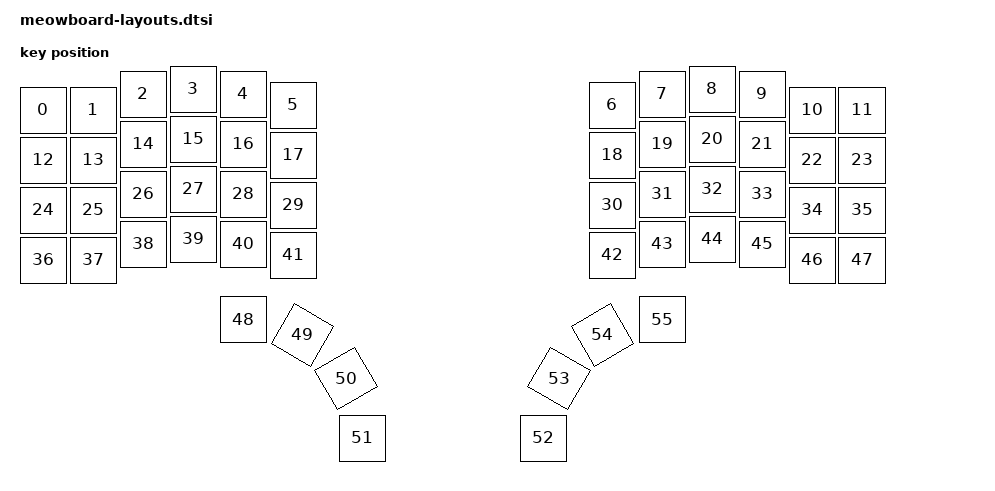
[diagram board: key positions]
// See https://zmk.dev/docs/development/hardware-integration/physical-layouts
// for how to configure this.

#include <physical_layouts.dtsi>

/ {
    default_layout: default_layout {
        compatible = "zmk,physical-layout";
        display-name = "Default Layout";
        transform = <&default_transform>;
        kscan = <&kscan>;

        // Edit this to define the positions and sizes of the keys, or remove it
        // if your keyboard will not support ZMK Studio.
        // https://zmk.dev/docs/development/hardware-integration/physical-layouts#optional-keys-property
        keys  //                     w   h    x    y     rot    rx    ry
            = <&key_physical_attrs 100 100    0   42       0     0     0>
            , <&key_physical_attrs 100 100  100   42       0     0     0>
            , <&key_physical_attrs 100 100  200   10       0     0     0>
            , <&key_physical_attrs 100 100  300    0       0     0     0>
            , <&key_physical_attrs 100 100  400   10       0     0     0>
            , <&key_physical_attrs 100 100  500   32       0     0     0>
            , <&key_physical_attrs 100 100 1138   32       0     0     0>
            , <&key_physical_attrs 100 100 1238   10       0     0     0>
            , <&key_physical_attrs 100 100 1338    0       0     0     0>
            , <&key_physical_attrs 100 100 1438   10       0     0     0>
            , <&key_physical_attrs 100 100 1538   42       0     0     0>
            , <&key_physical_attrs 100 100 1638   42       0     0     0>
            , <&key_physical_attrs 100 100    0  142       0     0     0>
            , <&key_physical_attrs 100 100  100  142       0     0     0>
            , <&key_physical_attrs 100 100  200  110       0     0     0>
            , <&key_physical_attrs 100 100  300  100       0     0     0>
            , <&key_physical_attrs 100 100  400  110       0     0     0>
            , <&key_physical_attrs 100 100  500  132       0     0     0>
            , <&key_physical_attrs 100 100 1138  132       0     0     0>
            , <&key_physical_attrs 100 100 1238  110       0     0     0>
            , <&key_physical_attrs 100 100 1338  100       0     0     0>
            , <&key_physical_attrs 100 100 1438  110       0     0     0>
            , <&key_physical_attrs 100 100 1538  142       0     0     0>
            , <&key_physical_attrs 100 100 1638  142       0     0     0>
            , <&key_physical_attrs 100 100    0  242       0     0     0>
            , <&key_physical_attrs 100 100  100  242       0     0     0>
            , <&key_physical_attrs 100 100  200  210       0     0     0>
            , <&key_physical_attrs 100 100  300  200       0     0     0>
            , <&key_physical_attrs 100 100  400  210       0     0     0>
            , <&key_physical_attrs 100 100  500  232       0     0     0>
            , <&key_physical_attrs 100 100 1138  232       0     0     0>
            , <&key_physical_attrs 100 100 1238  210       0     0     0>
            , <&key_physical_attrs 100 100 1338  200       0     0     0>
            , <&key_physical_attrs 100 100 1438  210       0     0     0>
            , <&key_physical_attrs 100 100 1538  242       0     0     0>
            , <&key_physical_attrs 100 100 1638  242       0     0     0>
            , <&key_physical_attrs 100 100    0  342       0     0     0>
            , <&key_physical_attrs 100 100  100  342       0     0     0>
            , <&key_physical_attrs 100 100  200  310       0     0     0>
            , <&key_physical_attrs 100 100  300  300       0     0     0>
            , <&key_physical_attrs 100 100  400  310       0     0     0>
            , <&key_physical_attrs 100 100  500  332       0     0     0>
            , <&key_physical_attrs 100 100 1138  332       0     0     0>
            , <&key_physical_attrs 100 100 1238  310       0     0     0>
            , <&key_physical_attrs 100 100 1338  300       0     0     0>
            , <&key_physical_attrs 100 100 1438  310       0     0     0>
            , <&key_physical_attrs 100 100 1538  342       0     0     0>
            , <&key_physical_attrs 100 100 1638  342       0     0     0>
            , <&key_physical_attrs 100 100  400  461       0     0     0>
            , <&key_physical_attrs 100 100  519  492    3000   569   542>
            , <&key_physical_attrs 100 100  606  579 (-3000)   656   629>
            , <&key_physical_attrs 100 100  638  698       0     0     0>
            , <&key_physical_attrs 100 100 1000  698       0     0     0>
            , <&key_physical_attrs 100 100 1032  579    3000  1082   629>
            , <&key_physical_attrs 100 100 1119  492 (-3000)  1169   542>
            , <&key_physical_attrs 100 100 1238  461       0     0     0>
            ;
    };
};
